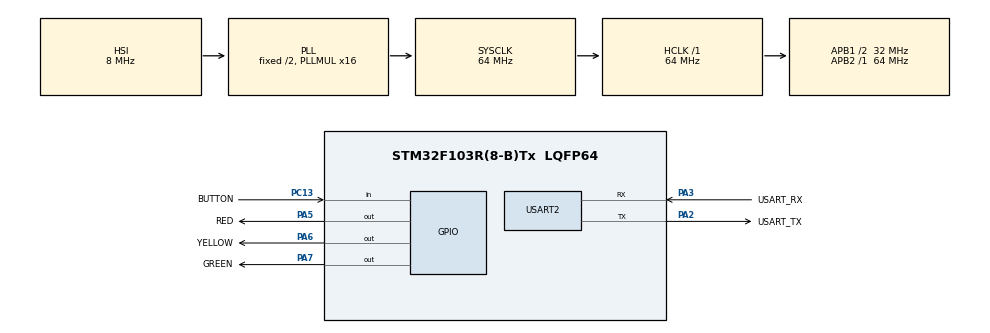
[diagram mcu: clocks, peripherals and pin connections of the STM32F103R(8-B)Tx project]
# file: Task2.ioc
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Mcu.Family=STM32F1
Mcu.Name=STM32F103R(8-B)Tx
Mcu.Package=LQFP64
NVIC.PriorityGroup=NVIC_PRIORITYGROUP_4
PA13.GPIO_Label=TMS
PA13.Mode=Serial_Wire
PA13.Signal=SYS_JTMS-SWDIO
PA14.GPIO_Label=TCK
PA14.Mode=Serial_Wire
PA14.Signal=SYS_JTCK-SWCLK
PA2.GPIO_Label=USART_TX
PA2.GPIO_Mode=GPIO_MODE_AF_PP
PA2.GPIO_PuPd=GPIO_NOPULL
PA2.GPIO_Speed=GPIO_SPEED_FREQ_LOW
PA2.Mode=Asynchronous
PA2.Signal=USART2_TX
PA3.GPIO_Label=USART_RX
PA3.GPIO_Mode=GPIO_MODE_AF_PP
PA3.GPIO_PuPd=GPIO_NOPULL
PA3.GPIO_Speed=GPIO_SPEED_FREQ_LOW
PA3.Mode=Asynchronous
PA3.Signal=USART2_RX
PA5.GPIO_Label=RED
PA5.GPIO_ModeDefaultOutputPP=GPIO_MODE_OUTPUT_PP
PA5.GPIO_PuPd=GPIO_NOPULL
PA5.GPIO_Speed=GPIO_SPEED_FREQ_LOW
PA5.Signal=GPIO_Output
PA6.GPIO_Label=YELLOW
PA6.Signal=GPIO_Output
PA7.GPIO_Label=GREEN
PA7.Signal=GPIO_Output
PB3.GPIO_Label=SWO
PB3.Signal=SYS_JTDO-TRACESWO
PC13-TAMPER-RTC.GPIO_Label=BUTTON
PC13-TAMPER-RTC.Signal=GPIO_Input
PC14-OSC32_IN.Mode=LSE-External-Oscillator
PC14-OSC32_IN.Signal=RCC_OSC32_IN
PC15-OSC32_OUT.Mode=LSE-External-Oscillator
PC15-OSC32_OUT.Signal=RCC_OSC32_OUT
PD0-OSC_IN.Mode=HSE-External-Clock-Source
PD0-OSC_IN.Signal=RCC_OSC_IN
PD1-OSC_OUT.Mode=HSE-External-Clock-Source
PD1-OSC_OUT.Signal=RCC_OSC_OUT
ProjectManager.HeapSize=0x200
ProjectManager.StackSize=0x400
ProjectManager.TargetToolchain=STM32CubeIDE
RCC.AHBFreq_Value=64000000
RCC.APB1CLKDivider=RCC_HCLK_DIV2
RCC.APB1Freq_Value=32000000
RCC.APB1TimFreq_Value=64000000
RCC.APB2Freq_Value=64000000
RCC.APB2TimFreq_Value=64000000
RCC.HCLKFreq_Value=64000000
RCC.PLLMUL=RCC_PLL_MUL16
RCC.RTCClockSelection=RCC_RTCCLKSOURCE_LSE
RCC.SYSCLKFreq_VALUE=64000000
RCC.SYSCLKSource=RCC_SYSCLKSOURCE_PLLCLK
RCC.USBFreq_Value=64000000
USART2.VirtualMode=VM_ASYNC
board=NUCLEO-F103RB

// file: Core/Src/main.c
/* USER CODE BEGIN Header */
/**
  ******************************************************************************
  * @file           : main.c
  * @brief          : Main program body
  ******************************************************************************
  * @attention
  *
  * Copyright (c) 2024 STMicroelectronics.
  * All rights reserved.
  *
  * This software is licensed under terms that can be found in the LICENSE file
  * in the root directory of this software component.
  * If no LICENSE file comes with this software, it is provided AS-IS.
  *
  ******************************************************************************
  */
/* USER CODE END Header */
#include "main.h"

 UART_HandleTypeDef huart2;

void SystemClock_Config(void);
static void MX_GPIO_Init(void);
static void MX_USART2_UART_Init(void);

int main(void)
{

  /* MCU Configuration--------------------------------------------------------*/

  /* Reset of all peripherals, Initializes the Flash interface and the Systick. */
  HAL_Init();

  /* Configure the system clock */
  SystemClock_Config();

  /* Initialize all configured peripherals */
  MX_GPIO_Init();
  MX_USART2_UART_Init();

  /* Infinite loop */
  while (1)
  {

    /* USER CODE BEGIN 3 */

	  if (HAL_GPIO_ReadPin(BUTTON_GPIO_Port, BUTTON_Pin)!= GPIO_PIN_SET){
		  HAL_Delay(5000);
	  	  for(int i = 0; i < 3; i++){
	  		  HAL_GPIO_WritePin(GREEN_GPIO_Port, GREEN_Pin, GPIO_PIN_RESET);
	  		  HAL_Delay(500);
	  		  HAL_GPIO_WritePin(GREEN_GPIO_Port, GREEN_Pin, GPIO_PIN_SET);
	  		  HAL_Delay(500);
	  	  }
	  	  HAL_GPIO_WritePin(GREEN_GPIO_Port, GREEN_Pin, GPIO_PIN_RESET);
	  	  HAL_GPIO_WritePin(YELLOW_GPIO_Port, YELLOW_Pin, GPIO_PIN_SET);
	  	  HAL_Delay(1000);
	  	  HAL_GPIO_WritePin(YELLOW_GPIO_Port, YELLOW_Pin, GPIO_PIN_RESET);
	  	  HAL_GPIO_WritePin(RED_GPIO_Port, RED_Pin, GPIO_PIN_SET);
	  	  HAL_Delay(4000);
	  	  HAL_GPIO_WritePin(YELLOW_GPIO_Port, YELLOW_Pin, GPIO_PIN_SET);
	  	  HAL_Delay(1000);
	  	  HAL_GPIO_WritePin(YELLOW_GPIO_Port, YELLOW_Pin, GPIO_PIN_RESET);
	  	  HAL_GPIO_WritePin(RED_GPIO_Port, RED_Pin, GPIO_PIN_RESET);
	  	  HAL_GPIO_WritePin(GREEN_GPIO_Port, GREEN_Pin, GPIO_PIN_SET);
	  	  HAL_Delay(5000);
	  	  HAL_GPIO_WritePin(BUTTON_GPIO_Port, BUTTON_Pin, GPIO_PIN_RESET);
	  } else
	  	  HAL_GPIO_WritePin(GREEN_GPIO_Port, GREEN_Pin, GPIO_PIN_SET);
  }
  /* USER CODE END 3 */
}

void SystemClock_Config(void)
{
  RCC_OscInitTypeDef RCC_OscInitStruct = {0};
  RCC_ClkInitTypeDef RCC_ClkInitStruct = {0};

  /** Initializes the RCC Oscillators according to the specified parameters
  * in the RCC_OscInitTypeDef structure.
  */
  RCC_OscInitStruct.OscillatorType = RCC_OSCILLATORTYPE_HSI;
  RCC_OscInitStruct.HSIState = RCC_HSI_ON;
  RCC_OscInitStruct.HSICalibrationValue = RCC_HSICALIBRATION_DEFAULT;
  RCC_OscInitStruct.PLL.PLLState = RCC_PLL_ON;
  RCC_OscInitStruct.PLL.PLLSource = RCC_PLLSOURCE_HSI_DIV2;
  RCC_OscInitStruct.PLL.PLLMUL = RCC_PLL_MUL16;
  if (HAL_RCC_OscConfig(&RCC_OscInitStruct) != HAL_OK)
  {
    Error_Handler();
  }

  /** Initializes the CPU, AHB and APB buses clocks
  */
  RCC_ClkInitStruct.ClockType = RCC_CLOCKTYPE_HCLK|RCC_CLOCKTYPE_SYSCLK
                              |RCC_CLOCKTYPE_PCLK1|RCC_CLOCKTYPE_PCLK2;
  RCC_ClkInitStruct.SYSCLKSource = RCC_SYSCLKSOURCE_PLLCLK;
  RCC_ClkInitStruct.AHBCLKDivider = RCC_SYSCLK_DIV1;
  RCC_ClkInitStruct.APB1CLKDivider = RCC_HCLK_DIV2;
  RCC_ClkInitStruct.APB2CLKDivider = RCC_HCLK_DIV1;

  if (HAL_RCC_ClockConfig(&RCC_ClkInitStruct, FLASH_LATENCY_2) != HAL_OK)
  {
    Error_Handler();
  }
}

static void MX_USART2_UART_Init(void)
{

  huart2.Instance = USART2;
  huart2.Init.BaudRate = 115200;
  huart2.Init.WordLength = UART_WORDLENGTH_8B;
  huart2.Init.StopBits = UART_STOPBITS_1;
  huart2.Init.Parity = UART_PARITY_NONE;
  huart2.Init.Mode = UART_MODE_TX_RX;
  huart2.Init.HwFlowCtl = UART_HWCONTROL_NONE;
  huart2.Init.OverSampling = UART_OVERSAMPLING_16;
  if (HAL_UART_Init(&huart2) != HAL_OK)
  {
    Error_Handler();
  }

}

static void MX_GPIO_Init(void)
{
  GPIO_InitTypeDef GPIO_InitStruct = {0};

  /* GPIO Ports Clock Enable */
  __HAL_RCC_GPIOC_CLK_ENABLE();
  __HAL_RCC_GPIOD_CLK_ENABLE();
  __HAL_RCC_GPIOA_CLK_ENABLE();
  __HAL_RCC_GPIOB_CLK_ENABLE();

  /*Configure GPIO pin Output Level */
  HAL_GPIO_WritePin(GPIOA, RED_Pin|YELLOW_Pin|GREEN_Pin, GPIO_PIN_RESET);

  /*Configure GPIO pin : BUTTON_Pin */
  GPIO_InitStruct.Pin = BUTTON_Pin;
  GPIO_InitStruct.Mode = GPIO_MODE_INPUT;
  GPIO_InitStruct.Pull = GPIO_NOPULL;
  HAL_GPIO_Init(BUTTON_GPIO_Port, &GPIO_InitStruct);

  /*Configure GPIO pins : RED_Pin YELLOW_Pin GREEN_Pin */
  GPIO_InitStruct.Pin = RED_Pin|YELLOW_Pin|GREEN_Pin;
  GPIO_InitStruct.Mode = GPIO_MODE_OUTPUT_PP;
  GPIO_InitStruct.Pull = GPIO_NOPULL;
  GPIO_InitStruct.Speed = GPIO_SPEED_FREQ_LOW;
  HAL_GPIO_Init(GPIOA, &GPIO_InitStruct);

}

void Error_Handler(void)
{
  __disable_irq();
  while (1)
  {
  }
}
